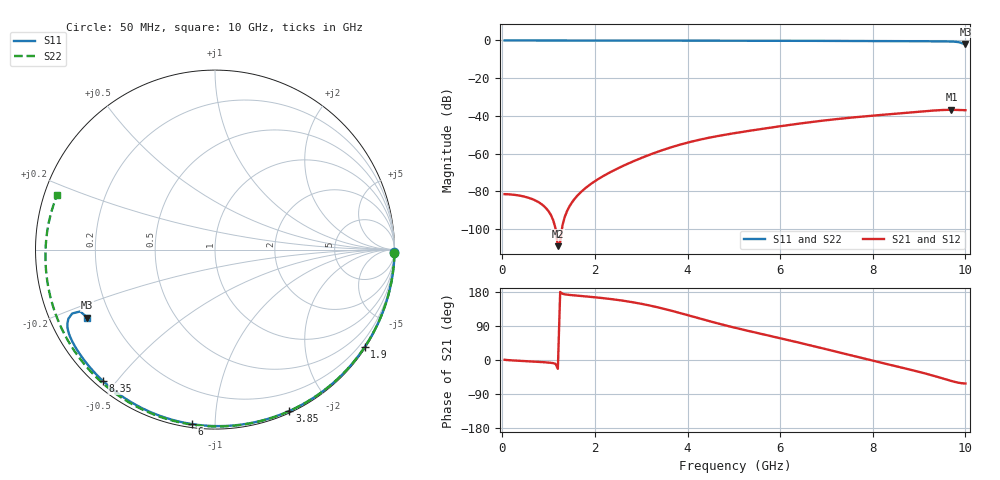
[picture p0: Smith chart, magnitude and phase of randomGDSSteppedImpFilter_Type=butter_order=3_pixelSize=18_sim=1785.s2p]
! freq	dB(S11)	phase(S11)	dB(S12)	phase(S12)
!  dB(S21)	phase(S21)	dB(S22)	phase(S22)
!S-par simulation data
#  GHz  S  DB  R 50
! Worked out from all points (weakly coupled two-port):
!   200 points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, 50 MHz to 10 GHz, reference 50 ohm
!   highest |S21| = -36.75 dB at 9.7 GHz (marker M1); lowest = -109.0 dB at 1.2 GHz (marker M2)
!   lowest |S11| = -1.9 dB at 10 GHz (marker M3), VSWR 9.33, Z = 5.69 - j12.3 ohm
!   |S11| at or under -10 dB: nowhere
!   |S22| runs from -0.6 to 0.0 dB; largest |S21 - S12| = 0
!   S11 on the Smith chart (normalised r, x): 50 MHz: open; 1.9 GHz: 0.03, -3.36; 3.85 GHz: 0.02, -1.56; 6 GHz: 0.02, -0.88; 8.35 GHz: 0.02, -0.46; 10 GHz: 0.11, -0.25
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0.05  -0.00 -0.9  -81.44 0.7  -81.44 0.7  -0.00 -1.1
0.6  -0.01 -10.6  -83.63 -3.6  -83.63 -3.6  -0.01 -13.4
1.2  -0.02 -21.1  -109.00 -23.1  -109.00 -23.1  -0.03 -26.7
1.7  -0.04 -29.7  -80.29 168.9  -80.29 168.9  -0.05 -37.5
1.75  -0.04 -30.6  -79.18 168.4  -79.18 168.4  -0.05 -38.6
1.9  -0.04 -33.1  -76.26 166.7  -76.26 166.7  -0.05 -41.8
2.2  -0.05 -38.2  -71.57 162.9  -71.57 162.9  -0.06 -48.2
2.55  -0.06 -44.1  -67.12 157.5  -67.12 157.5  -0.07 -55.5
2.95  -0.07 -50.7  -62.79 149.5  -62.79 149.5  -0.08 -63.8
3.4  -0.08 -58.0  -58.60 137.8  -58.60 137.8  -0.10 -72.9
3.85  -0.09 -65.2  -55.13 123.5  -55.13 123.5  -0.11 -81.8
4.4  -0.11 -73.8  -51.86 104.9  -51.86 104.9  -0.13 -92.4
5.05  -0.13 -83.7  -48.97 84.4  -48.97 84.4  -0.16 -104.7
6  -0.17 -97.6  -45.46 57.4  -45.46 57.4  -0.21 -122.2
6.7  -0.21 -107.6  -43.14 37.2  -43.14 37.2  -0.26 -134.9
7.55  -0.27 -119.5  -40.85 11.6  -40.85 11.6  -0.33 -150.5
8.35  -0.34 -130.5  -39.11 -12.0  -39.11 -12.0  -0.42 -165.5
9.05  -0.41 -140.4  -37.65 -32.9  -37.65 -32.9  -0.50 -179.3
9.7  -0.58 -151.0  -36.75 -55.5  -36.75 -55.5  -0.58 167.3
9.85  -0.89 -154.8  -36.85 -59.9  -36.85 -59.9  -0.60 164.1
9.95  -1.66 -155.4  -36.94 -61.6  -36.94 -61.6  -0.61 161.9
10  -1.87 -151.9  -36.96 -62.0  -36.96 -62.0  -0.62 160.8
